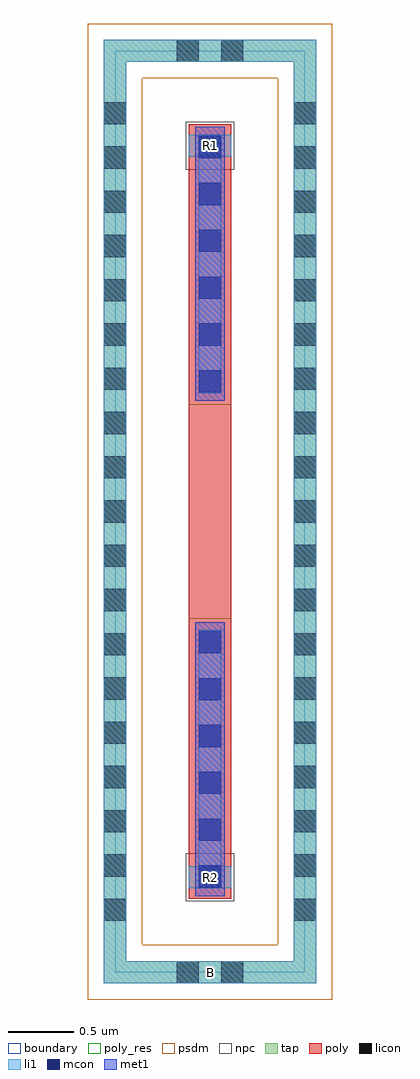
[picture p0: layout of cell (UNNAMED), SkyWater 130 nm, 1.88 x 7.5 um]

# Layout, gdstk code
import gdstk
lib = gdstk.Library(unit=1e-6, precision=1e-09)
def R(c, l, rs):  # rectangles x0, y0, x1, y1
    for r in rs: c.add(gdstk.rectangle(r[:2], r[2:], *l))
def A(c, l, x, y, w, h, nx, ny, dx, dy):  # array of equal rectangles
    R(c, l, [(x+i*dx, y+j*dy, x+i*dx+w, y+j*dy+h) for i in range(nx) for j in range(ny)])
tap = (65, 44)
poly_res = (66, 13)
poly = (66, 20)
licon = (66, 44)
li1 = (67, 20)
mcon = (67, 44)
met1 = (68, 20)
psdm = (94, 20)
npc = (95, 20)
boundary = (235, 4)

c__unnamed_ = lib.new_cell('(UNNAMED)')
R(c__unnamed_, tap, [(-0.815,-3.625,0.815,-3.455), (-0.815,-3.455,-0.645,3.455), (0.645,-3.455,0.815,3.455), (-0.815,3.455,0.815,3.625)])
R(c__unnamed_, poly_res, [(-0.165,-0.825,0.165,0.825)])
R(c__unnamed_, poly, [(-0.165,-2.975,0.165,2.975)])
A(c__unnamed_, licon, -0.815, -3.145, 0.17, 0.17, 1, 19, 0, 0.34)
A(c__unnamed_, licon, 0.645, -3.145, 0.17, 0.17, 1, 19, 0, 0.34)
R(c__unnamed_, licon, [(-0.255,-3.625,-0.085,-3.455), (0.085,-3.625,0.255,-3.455), (-0.085,-2.895,0.085,-2.725), (-0.085,2.725,0.085,2.895), (-0.255,3.455,-0.085,3.625), (0.085,3.455,0.255,3.625)])
R(c__unnamed_, li1, [(-0.815,-3.625,0.815,-3.455), (-0.815,-3.455,-0.645,3.455), (0.645,-3.455,0.815,3.455), (-0.165,-2.895,0.165,-2.725), (-0.085,-2.725,0.085,-0.91), (-0.085,0.91,0.085,2.725), (-0.165,2.725,0.165,2.895), (-0.815,3.455,0.815,3.625)])
A(c__unnamed_, mcon, -0.085, -2.89, 0.17, 0.17, 1, 6, 0, 0.36)
A(c__unnamed_, mcon, -0.085, 0.915, 0.17, 0.17, 1, 6, 0, 0.36)
R(c__unnamed_, met1, [(-0.115,-2.955,0.115,-0.85), (-0.115,0.85,0.115,2.955)])
R(c__unnamed_, psdm, [(-0.94,-3.75,0.94,-3.33), (-0.94,-3.33,-0.52,3.33), (0.52,-3.33,0.94,3.33), (-0.94,3.33,0.94,3.75)])
R(c__unnamed_, npc, [(-0.185,-2.995,0.185,-2.625), (-0.185,2.625,0.185,2.995)])
R(c__unnamed_, boundary, [(-0.73,-3.54,0.73,3.54)])
c__unnamed_.add(gdstk.Label('B', (0,-3.54), layer=67, texttype=5))
c__unnamed_.add(gdstk.Label('R1', (0,2.81), layer=67, texttype=5))
c__unnamed_.add(gdstk.Label('R2', (0,-2.81), layer=67, texttype=5))

lib.write_gds('_UNNAMED_.gds')
